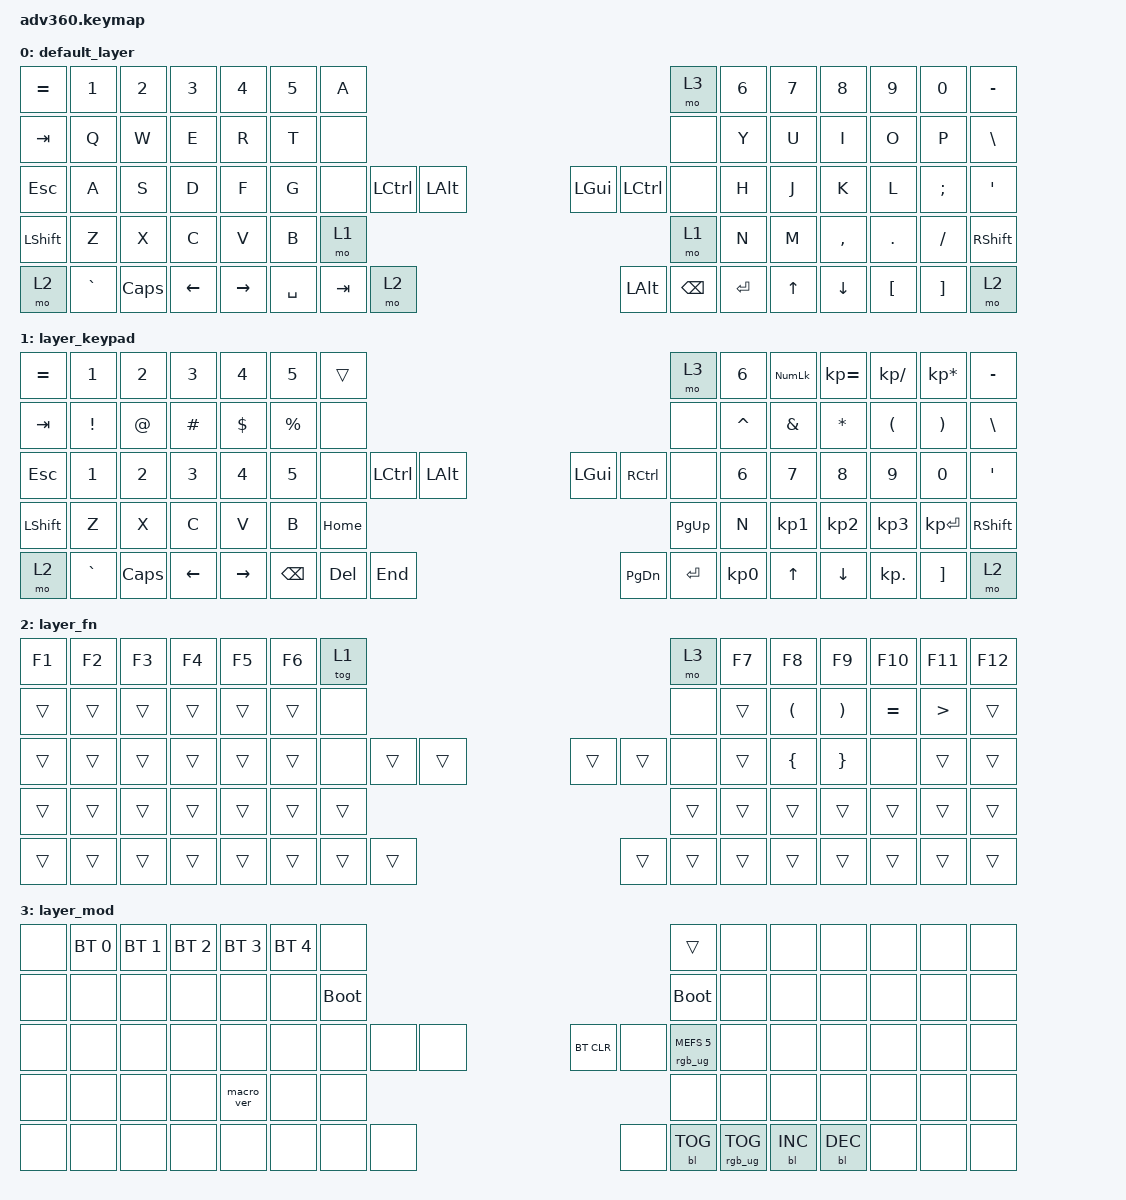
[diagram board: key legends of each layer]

/*
 * Copyright (c) 2020 The ZMK Contributors
 *
 * SPDX-License-Identifier: MIT
 */


/* THIS FILE WAS GENERATED!
 *
 * This file was generated automatically. You may or may not want to
 * edit it directly.
 */

#include <behaviors.dtsi>
#include <dt-bindings/zmk/keys.h>
#include <dt-bindings/zmk/bt.h>
#include <dt-bindings/zmk/rgb.h>
#include <dt-bindings/zmk/backlight.h>

/ {
  behaviors {
    #include "macros.dtsi"
    #include "version.dtsi"

    hm: homerow_mods {
        compatible = "zmk,behavior-hold-tap";
        label = "HOMEROW_MODS";
        #binding-cells = <2>;
        tapping-term-ms = <200>;
        quick_tap_ms = <175>;
        flavor = "tap-preferred";
        bindings = <&kp>, <&kp>;
    };
  };

    keymap {
        compatible = "zmk,keymap";


        default_layer {
            bindings = <
 &kp EQUAL     &kp N1    &kp N2    &kp N3     &kp N4  &kp N5                &kp A                                                                           &mo 3  &kp N6  &kp N7     &kp N8      &kp N9         &kp N0  &kp MINUS
   &kp TAB      &kp Q     &kp W     &kp E      &kp R   &kp T                &none                                                                           &none   &kp Y   &kp U      &kp I       &kp O          &kp P   &kp BSLH
   &kp ESC      &kp A     &kp S     &kp D      &kp F   &kp G                &none  &kp LCTRL  &kp LALT                      &kp LGUI  &kp LEFT_CONTROL      &none   &kp H   &kp J      &kp K       &kp L  &kp SEMICOLON    &kp SQT
 &kp LSHFT      &kp Z     &kp X     &kp C      &kp V   &kp B                                     &mo 1                         &mo 1                                &kp N   &kp M  &kp COMMA  &kp PERIOD       &kp FSLH  &kp RSHFT
     &mo 2  &kp GRAVE  &kp CAPS  &kp LEFT  &kp RIGHT                    &kp SPACE    &kp TAB     &mo 2                  &kp LEFT_ALT     &kp BACKSPACE  &kp ENTER          &kp UP   &kp DOWN    &kp LBKT       &kp RBKT      &mo 2
            >;
        };

        layer_keypad {
            bindings = <
 &kp EQUAL           &kp N1        &kp N2        &kp N3        &kp N4        &kp N5              &trans                                                                 &mo 3        &kp N6     &kp KP_NUM  &kp KP_EQUAL         &kp KP_DIVIDE        &kp KP_MULTIPLY  &kp MINUS
   &kp TAB  &kp EXCLAMATION   &kp AT_SIGN      &kp HASH    &kp DOLLAR   &kp PERCENT               &none                                                                 &none     &kp CARET  &kp AMPERSAND      &kp STAR  &kp LEFT_PARENTHESIS  &kp RIGHT_PARENTHESIS   &kp BSLH
   &kp ESC     &kp NUMBER_1  &kp NUMBER_2  &kp NUMBER_3  &kp NUMBER_4  &kp NUMBER_5               &none  &kp LCTRL  &kp LALT                   &kp LGUI  &kp RCTRL      &none  &kp NUMBER_6   &kp NUMBER_7  &kp NUMBER_8          &kp NUMBER_9           &kp NUMBER_0    &kp SQT
 &kp LSHFT            &kp Z         &kp X         &kp C         &kp V         &kp B                                 &kp HOME                  &kp PG_UP                               &kp N      &kp KP_N1     &kp KP_N2             &kp KP_N3           &kp KP_ENTER  &kp RSHFT
     &mo 2        &kp GRAVE      &kp CAPS      &kp LEFT     &kp RIGHT                          &kp BSPC    &kp DEL   &kp END                  &kp PG_DN  &kp ENTER  &kp KP_N0                       &kp UP      &kp DOWN            &kp KP_DOT               &kp RBKT      &mo 2
            >;
        };

        layer_fn {
            bindings = <
 &kp F1  &kp F2  &kp F3  &kp F4  &kp F5  &kp F6            &tog 1                                                   &mo 3  &kp F7                &kp F8                 &kp F9    &kp F10           &kp F11  &kp F12
 &trans  &trans  &trans  &trans  &trans  &trans             &none                                                   &none  &trans  &kp LEFT_PARENTHESIS  &kp RIGHT_PARENTHESIS  &kp EQUAL  &kp GREATER_THAN   &trans
 &trans  &trans  &trans  &trans  &trans  &trans             &none  &trans  &trans                  &trans  &trans   &none  &trans        &kp LEFT_BRACE        &kp RIGHT_BRACE      &none            &trans   &trans
 &trans  &trans  &trans  &trans  &trans  &trans                            &trans                  &trans                  &trans                &trans                 &trans     &trans            &trans   &trans
 &trans  &trans  &trans  &trans  &trans                    &trans  &trans  &trans                  &trans  &trans  &trans                        &trans                 &trans     &trans            &trans   &trans
            >;
        };

        layer_mod {
            bindings = <
  &none  &bt BT_SEL 0  &bt BT_SEL 1  &bt BT_SEL 2  &bt BT_SEL 3  &bt BT_SEL 4                  &none                                                                          &trans   &none       &none       &none   &none   &none   &none
  &none         &none         &none         &none         &none         &none            &bootloader                                                                     &bootloader   &none       &none       &none   &none   &none   &none
  &none         &none         &none         &none         &none         &none                  &none   &none   &none                  &bt BT_CLR       &none  &rgb_ug RGB_MEFS_CMD 5   &none       &none       &none   &none   &none   &none
  &none         &none         &none         &none    &macro_ver         &none                                  &none                       &none                                       &none       &none       &none   &none   &none   &none
  &none         &none         &none         &none         &none                                &none   &none   &none                       &none  &bl BL_TOG         &rgb_ug RGB_TOG          &bl BL_INC  &bl BL_DEC   &none   &none   &none
            >;
        };

    };
};
